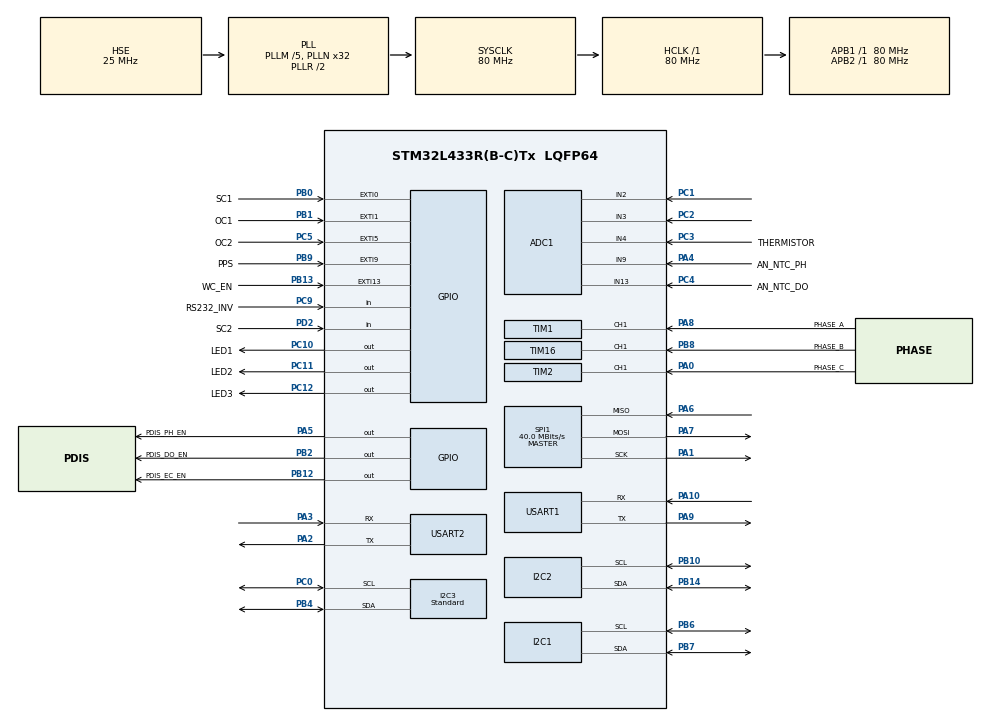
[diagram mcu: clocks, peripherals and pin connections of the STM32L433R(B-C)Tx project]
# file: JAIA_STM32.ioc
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ADC1.Channel-1\#ChannelRegularConversion=ADC_CHANNEL_2
ADC1.Channel-2\#ChannelRegularConversion=ADC_CHANNEL_3
ADC1.Channel-3\#ChannelRegularConversion=ADC_CHANNEL_4
ADC1.Channel-4\#ChannelRegularConversion=ADC_CHANNEL_9
ADC1.Channel-5\#ChannelRegularConversion=ADC_CHANNEL_13
ADC1.ContinuousConvMode=DISABLE
ADC1.DMAContinuousRequests=ENABLE
ADC1.EOCSelection=ADC_EOC_SEQ_CONV
ADC1.ExternalTrigConv=ADC_EXTERNALTRIG_T6_TRGO
ADC1.NbrOfConversion=5
ADC1.NbrOfConversionFlag=1
ADC1.OffsetNumber-1\#ChannelRegularConversion=ADC_OFFSET_NONE
ADC1.OffsetNumber-2\#ChannelRegularConversion=ADC_OFFSET_NONE
ADC1.OffsetNumber-3\#ChannelRegularConversion=ADC_OFFSET_NONE
ADC1.OffsetNumber-4\#ChannelRegularConversion=ADC_OFFSET_NONE
ADC1.OffsetNumber-5\#ChannelRegularConversion=ADC_OFFSET_NONE
ADC1.Rank-1\#ChannelRegularConversion=1
ADC1.Rank-2\#ChannelRegularConversion=2
ADC1.Rank-3\#ChannelRegularConversion=3
ADC1.Rank-4\#ChannelRegularConversion=4
ADC1.Rank-5\#ChannelRegularConversion=5
ADC1.SamplingTime-1\#ChannelRegularConversion=ADC_SAMPLETIME_247CYCLES_5
ADC1.SamplingTime-2\#ChannelRegularConversion=ADC_SAMPLETIME_247CYCLES_5
ADC1.SamplingTime-3\#ChannelRegularConversion=ADC_SAMPLETIME_247CYCLES_5
ADC1.SamplingTime-4\#ChannelRegularConversion=ADC_SAMPLETIME_247CYCLES_5
ADC1.SamplingTime-5\#ChannelRegularConversion=ADC_SAMPLETIME_247CYCLES_5
ADC1.master=1
Dma.ADC1.1.Direction=DMA_PERIPH_TO_MEMORY
Dma.ADC1.1.Instance=DMA1_Channel1
Dma.ADC1.1.MemDataAlignment=DMA_MDATAALIGN_HALFWORD
Dma.ADC1.1.MemInc=DMA_MINC_ENABLE
Dma.ADC1.1.Mode=DMA_CIRCULAR
Dma.ADC1.1.PeriphDataAlignment=DMA_PDATAALIGN_HALFWORD
Dma.ADC1.1.PeriphInc=DMA_PINC_DISABLE
Dma.ADC1.1.Priority=DMA_PRIORITY_LOW
Dma.Request0=USART2_RX
Dma.Request1=ADC1
Dma.USART2_RX.0.Direction=DMA_PERIPH_TO_MEMORY
Dma.USART2_RX.0.Instance=DMA1_Channel6
Dma.USART2_RX.0.MemDataAlignment=DMA_MDATAALIGN_BYTE
Dma.USART2_RX.0.MemInc=DMA_MINC_ENABLE
Dma.USART2_RX.0.Mode=DMA_NORMAL
Dma.USART2_RX.0.PeriphDataAlignment=DMA_PDATAALIGN_BYTE
Dma.USART2_RX.0.PeriphInc=DMA_PINC_DISABLE
Dma.USART2_RX.0.Priority=DMA_PRIORITY_MEDIUM
I2C1.Timing=0x10D19CE4
I2C2.Timing=0x10D19CE4
I2C3.I2C_Speed_Mode=I2C_Standard
I2C3.NoStretchMode=I2C_NOSTRETCH_ENABLE
I2C3.Timing=0x10D19CE4
IWDG.Prescaler=IWDG_PRESCALER_256
Mcu.Family=STM32L4
Mcu.Name=STM32L433R(B-C)Tx
Mcu.Package=LQFP64
NVIC.ADC1_IRQn=true\:0\:0\:false\:false\:true\:true\:true\:true
NVIC.DMA1_Channel1_IRQn=true\:0\:0\:false\:false\:true\:false\:true\:true
NVIC.DMA1_Channel6_IRQn=true\:0\:0\:false\:false\:true\:false\:true\:true
NVIC.EXTI9_5_IRQn=true\:0\:0\:false\:false\:true\:true\:true\:true
NVIC.PriorityGroup=NVIC_PRIORITYGROUP_4
NVIC.USART1_IRQn=true\:0\:0\:false\:false\:true\:true\:true\:true
NVIC.USART2_IRQn=true\:0\:0\:false\:false\:true\:true\:true\:true
PA0.GPIO_Label=PHASE_C
PA0.Signal=S_TIM2_CH1
PA1.Mode=Full_Duplex_Master
PA1.Signal=SPI1_SCK
PA10.Mode=Asynchronous
PA10.Signal=USART1_RX
PA13\ (JTMS-SWDIO).Mode=Trace_Asynchronous_SW
PA13\ (JTMS-SWDIO).Signal=SYS_JTMS-SWDIO
PA14\ (JTCK-SWCLK).Mode=Trace_Asynchronous_SW
PA14\ (JTCK-SWCLK).Signal=SYS_JTCK-SWCLK
PA2.Mode=Asynchronous
PA2.Signal=USART2_TX
PA3.Mode=Asynchronous
PA3.Signal=USART2_RX
PA4.GPIO_Label=AN_NTC_PH
PA4.Signal=ADCx_IN9
PA5.GPIO_Label=PDIS_PH_EN
PA5.GPIO_PuPd=GPIO_PULLDOWN
PA5.Signal=GPIO_Output
PA6.Mode=Full_Duplex_Master
PA6.Signal=SPI1_MISO
PA7.Mode=Full_Duplex_Master
PA7.Signal=SPI1_MOSI
PA8.GPIO_Label=PHASE_A
PA8.Signal=S_TIM1_CH1
PA9.Mode=Asynchronous
PA9.Signal=USART1_TX
PB0.GPIO_Label=SC1
PB0.GPIO_PuPd=GPIO_PULLDOWN
PB0.Signal=GPXTI0
PB1.GPIO_Label=OC1
PB1.GPIO_PuPd=GPIO_PULLDOWN
PB1.Signal=GPXTI1
PB10.Mode=I2C
PB10.Signal=I2C2_SCL
PB12.GPIO_Label=PDIS_EC_EN
PB12.GPIO_PuPd=GPIO_PULLDOWN
PB12.Signal=GPIO_Output
PB13.GPIO_Label=WC_EN
PB13.GPIO_PuPd=GPIO_PULLDOWN
PB13.Signal=GPXTI13
PB14.Mode=I2C
PB14.Signal=I2C2_SDA
PB2.GPIO_Label=PDIS_DO_EN
PB2.GPIO_PuPd=GPIO_PULLDOWN
PB2.Signal=GPIO_Output
PB3\ (JTDO-TRACESWO).Mode=Trace_Asynchronous_SW
PB3\ (JTDO-TRACESWO).Signal=SYS_JTDO-SWO
PB4\ (NJTRST).Mode=I2C
PB4\ (NJTRST).Signal=I2C3_SDA
PB6.Mode=I2C
PB6.Signal=I2C1_SCL
PB7.Mode=I2C
PB7.Signal=I2C1_SDA
PB8.GPIO_Label=PHASE_B
PB8.Signal=S_TIM16_CH1
PB9.GPIO_Label=PPS
PB9.Signal=GPXTI9
PC0.Mode=I2C
PC0.Signal=I2C3_SCL
PC1.Signal=ADCx_IN2
PC10.GPIO_Label=LED1
PC10.Signal=GPIO_Output
PC11.GPIO_Label=LED2
PC11.Signal=GPIO_Output
PC12.GPIO_Label=LED3
PC12.Signal=GPIO_Output
PC14-OSC32_IN\ (PC14).Mode=LSE-External-Oscillator
PC14-OSC32_IN\ (PC14).Signal=RCC_OSC32_IN
PC15-OSC32_OUT\ (PC15).Mode=LSE-External-Oscillator
PC15-OSC32_OUT\ (PC15).Signal=RCC_OSC32_OUT
PC2.Signal=ADCx_IN3
PC3.GPIO_Label=THERMISTOR
PC3.Signal=ADCx_IN4
PC4.GPIO_Label=AN_NTC_DO
PC4.Signal=ADCx_IN13
PC5.GPIO_Label=OC2
PC5.GPIO_PuPd=GPIO_PULLDOWN
PC5.Signal=GPXTI5
PC9.GPIO_Label=RS232_INV
PC9.GPIO_PuPd=GPIO_PULLDOWN
PC9.Signal=GPIO_Input
PD2.GPIO_Label=SC2
PD2.Signal=GPIO_Input
PH0-OSC_IN\ (PH0).Mode=HSE-External-Oscillator
PH0-OSC_IN\ (PH0).Signal=RCC_OSC_IN
PH1-OSC_OUT\ (PH1).Mode=HSE-External-Oscillator
PH1-OSC_OUT\ (PH1).Signal=RCC_OSC_OUT
ProjectManager.HeapSize=0x200
ProjectManager.StackSize=0x400
ProjectManager.TargetToolchain=Makefile
RCC.ADCFreq_Value=20000000
RCC.AHBFreq_Value=80000000
RCC.APB1Freq_Value=80000000
RCC.APB1TimFreq_Value=80000000
RCC.APB2Freq_Value=80000000
RCC.APB2TimFreq_Value=80000000
RCC.CortexFreq_Value=80000000
RCC.HCLKFreq_Value=80000000
RCC.HSE_VALUE=25000000
RCC.HSI48_VALUE=48000000
RCC.HSI_VALUE=16000000
RCC.MSI_VALUE=4000000
RCC.PLLM=5
RCC.PLLN=32
RCC.PLLSAI1N=16
RCC.PLLSAI1R=RCC_PLLR_DIV4
RCC.PLLSourceVirtual=RCC_PLLSOURCE_HSE
RCC.SYSCLKFreq_VALUE=80000000
RCC.SYSCLKSource=RCC_SYSCLKSOURCE_PLLCLK
RCC.USBFreq_Value=40000000
RCC.VCOOutputFreq_Value=160000000
SH.ADCx_IN13.0=ADC1_IN13,IN13-Single-Ended
SH.ADCx_IN2.0=ADC1_IN2,IN2-Single-Ended
SH.ADCx_IN3.0=ADC1_IN3,IN3-Single-Ended
SH.ADCx_IN4.0=ADC1_IN4,IN4-Single-Ended
SH.ADCx_IN9.0=ADC1_IN9,IN9-Single-Ended
SH.S_TIM16_CH1.0=TIM16_CH1,Input_Capture1_from_TI1
SH.S_TIM1_CH1.0=TIM1_CH1,Input_Capture1_from_TI1
SH.S_TIM2_CH1.0=TIM2_CH1,Input_Capture1_from_TI1
SPI1.BaudRatePrescaler=SPI_BAUDRATEPRESCALER_2
SPI1.CalculateBaudRate=40.0 MBits/s
SPI1.Direction=SPI_DIRECTION_2LINES
SPI1.Mode=SPI_MODE_MASTER
SPI1.VirtualType=VM_MASTER
TIM1.Channel-Input_Capture1_from_TI1=TIM_CHANNEL_1
TIM16.Channel=TIM_CHANNEL_1
TIM2.Channel-Input_Capture1_from_TI1=TIM_CHANNEL_1
TIM6.AutoReloadPreload=TIM_AUTORELOAD_PRELOAD_ENABLE
TIM6.Period=49999
TIM6.Prescaler=159
TIM6.TIM_MasterOutputTrigger=TIM_TRGO_UPDATE
USART1.VirtualMode-Asynchronous=VM_ASYNC
USART2.VirtualMode-Asynchronous=VM_ASYNC
VP_IWDG_VS_IWDG.Mode=IWDG_Activate
VP_TIM16_VS_ClockSourceINT.Mode=Enable_Timer
VP_TIM6_VS_ClockSourceINT.Mode=Enable_Timer
board=custom

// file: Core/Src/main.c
/* USER CODE BEGIN Header */
/**
 ******************************************************************************
 * @file           : main.c
 * @brief          : Main program body
 ******************************************************************************
 * @attention
 *
 * Copyright (c) 2024 STMicroelectronics.
 * All rights reserved.
 *
 * This software is licensed under terms that can be found in the LICENSE file
 * in the root directory of this software component.
 * If no LICENSE file comes with this software, it is provided AS-IS.
 *
 ******************************************************************************
 */
/* USER CODE END Header */
#include "main.h"

/* USER CODE BEGIN PTD */

typedef jaiabot_sensor_protobuf_SensorData SensorData;
typedef jaiabot_sensor_protobuf_SensorRequest SensorRequest;
typedef jaiabot_sensor_protobuf_Sensor Sensor;

/* USER CODE END PTD */

/* USER CODE BEGIN PD */
#define SWO_ENABLED 0  // Set to 1 to enable SWO debugging
#define ITM_PORT 0
#define UART1_RECEIVE_TIMEOUT_MS 2000
/* USER CODE END PD */

ADC_HandleTypeDef hadc1;
DMA_HandleTypeDef hdma_adc1;

I2C_HandleTypeDef hi2c1;
I2C_HandleTypeDef hi2c2;
I2C_HandleTypeDef hi2c3;

IWDG_HandleTypeDef hiwdg;

SPI_HandleTypeDef hspi1;

TIM_HandleTypeDef htim1;
TIM_HandleTypeDef htim2;
TIM_HandleTypeDef htim6;
TIM_HandleTypeDef htim16;

UART_HandleTypeDef huart1;
UART_HandleTypeDef huart2;
DMA_HandleTypeDef hdma_usart2_rx;

/* USER CODE BEGIN PV */
OEM_EC_CHIP ec;
OEM_DO_CHIP dOxy;
OEM_PH_CHIP ph;

ADC_HandleTypeDef hadc1;

I2C_HandleTypeDef hi2c1;
I2C_HandleTypeDef hi2c2;
I2C_HandleTypeDef hi2c3;

SPI_HandleTypeDef hspi1;

TIM_HandleTypeDef htim1;
TIM_HandleTypeDef htim2;
TIM_HandleTypeDef htim16;

UART_HandleTypeDef huart1;
UART_HandleTypeDef huart2;
DMA_HandleTypeDef hdma_usart2_rx;

#define SOFTWARE_VERSION 4
#define SENSOR_REQUEST_SAMPLE_RATE 1000
#define MILLISECONDS_FACTOR 1000
#define PRESSURE_CONVERSION_MBAR 1.0f

uint8_t uartrxbuff[MAX_MSG_SIZE] __attribute__((aligned(4)));
uint8_t uarttxbuff[MAX_MSG_SIZE] __attribute__((aligned(4)));

uint8_t uart1rxbuff[MAX_MSG_SIZE] __attribute__((aligned(4)));
uint8_t uart1txbuff[MAX_MSG_SIZE] __attribute__((aligned(4)));

extern uint32_t _s_ramfunc, _e_ramfunc, _s_ramfunc_load;

// ADC Variables
uint16_t adc_value1; // Fluorometer
uint16_t adc_value2; //
uint16_t adc_value3; //
uint16_t adc_value4; // pH temperature
uint16_t adc_value5; // DO temperature

float adc_voltage1;
float adc_voltage2;
float adc_voltage3;
float adc_voltage4;
float adc_voltage5;

uint32_t adc_counter;
uint16_t adc_buffer[5];

int Sensors[_jaiabot_sensor_protobuf_Sensor_ARRAYSIZE] = {0};
int SensorSampleRates[_jaiabot_sensor_protobuf_Sensor_ARRAYSIZE] = {0};

// Bar 30
bool pressure_zeroed = false;
float pressure_zero_mbar = 0.0f;

static uint32_t uart1_last_rx_tick = 0;
/* USER CODE END PV */

void SystemClock_Config(void);
static void MX_GPIO_Init(void);
static void MX_DMA_Init(void);
static void MX_ADC1_Init(void);
static void MX_I2C1_Init(void);
static void MX_I2C2_Init(void);
static void MX_I2C3_Init(void);
static void MX_USART1_UART_Init(void);
static void MX_USART2_UART_Init(void);
static void MX_SPI1_Init(void);
static void MX_TIM1_Init(void);
static void MX_TIM2_Init(void);
static void MX_TIM16_Init(void);
static void MX_IWDG_Init(void);
static void MX_TIM6_Init(void);
/* USER CODE BEGIN PFP */

void jumpToBootloader(void);
void startCalibration(jaiabot_sensor_protobuf_Sensor sensor);
void stopCalibration(void);
static void UART1_CheckTimeout(void);

// Initialize Sensors
void init_blue_robotics_bar30();
void init_atlas_scientific_EC();
void init_atlas_scientific_DO();
void init_atlas_scientific_pH();
void init_CFluor();
void init_AML();

// Transmit Data
void process_sensor_request(SensorRequest *sensor_request);
void transmit_sensor_data(SensorData *sensor_data);
void transmit_metadata();
void transmit_atlas_scientific_ec_data();
void transmit_atlas_scientific_do_data();
void transmit_atlas_scientific_ph_data();
void transmit_blue_robotics_bar30_data();
void transmit_turner_c_fluor_data();

// Utility
int hz_to_ms(int hz);

/* USER CODE END PFP */

int main(void)
{

  /* MCU Configuration--------------------------------------------------------*/

  /* Reset of all peripherals, Initializes the Flash interface and the Systick. */
  HAL_Init();

  /* Configure the system clock */
  SystemClock_Config();

  /* Initialize all configured peripherals */
  MX_GPIO_Init();
  MX_DMA_Init();
  MX_ADC1_Init();
  MX_I2C1_Init();
  MX_I2C2_Init();
  MX_I2C3_Init();
  MX_USART1_UART_Init();
  MX_USART2_UART_Init();
  MX_SPI1_Init();
  MX_TIM1_Init();
  MX_TIM2_Init();
  MX_TIM16_Init();
  MX_IWDG_Init();
  MX_TIM6_Init();
  /* USER CODE BEGIN 2 */

  // Initialize Sensors
  init_atlas_scientific_EC();
  init_atlas_scientific_DO();
  init_atlas_scientific_pH();
  init_blue_robotics_bar30();

  init_CFluor();
  init_AML();

  // Must be called before computing CRC32
  init_crc32_table();

  // Set up UART RX interrupt
  HAL_UARTEx_ReceiveToIdle_IT(&huart1, (uint8_t *)uart1rxbuff, sizeof(uart1rxbuff));
  HAL_UARTEx_ReceiveToIdle_DMA(&huart2, (uint8_t *)uartrxbuff, sizeof(uartrxbuff));
  uart1_last_rx_tick = HAL_GetTick();  /* Prevent false timeout before first AML data */

  // Calibrate the ADC
  if (HAL_ADCEx_Calibration_Start(&hadc1, LL_ADC_SINGLE_ENDED) != HAL_OK)
  {
      Error_Handler();
  }

  // Start the timer for ADC Transfers at 100ms
  HAL_TIM_Base_Start_IT(&htim6);
  HAL_ADC_Start_DMA(&hadc1, (uint32_t*)adc_buffer, 5);

  /* USER CODE END 2 */

  /* Infinite loop */
  /* USER CODE BEGIN WHILE */

  double time = 0;
  double ec_target_send_time = 0;
  double do_target_send_time = 0;
  double ph_target_send_time = 0;
  double bar30_target_send_time = 0;
  double turner_c_fluor_target_send_time = 0;
  double aml_target_send_time = 0;
  double sensor_request_target_check_time = 0;

  while (1)
  {
    // Refresh watchdog
    HAL_IWDG_Refresh(&hiwdg);

    // Run at 100 Hz
    HAL_Delay(10);

    // Check if a sensor came unplugged from UART 1 (user changing AML sensors)
    UART1_CheckTimeout();

    // Sensor Request
    if (time >= sensor_request_target_check_time)
    {
      sensor_request_target_check_time = time + SENSOR_REQUEST_SAMPLE_RATE;
      SensorRequest sensor_request = process_cmd();
      process_sensor_request(&sensor_request);
    }

    // Sensor Data
    if (Sensors[jaiabot_sensor_protobuf_Sensor_ATLAS_SCIENTIFIC__OEM_EC] == REQUESTED && time >= ec_target_send_time)
    {
      ec_target_send_time = time + SensorSampleRates[jaiabot_sensor_protobuf_Sensor_ATLAS_SCIENTIFIC__OEM_EC];
      transmit_atlas_scientific_ec_data();
    }

    if (Sensors[jaiabot_sensor_protobuf_Sensor_ATLAS_SCIENTIFIC__OEM_DO] == REQUESTED && time >= do_target_send_time)
    {
      do_target_send_time = time + SensorSampleRates[jaiabot_sensor_protobuf_Sensor_ATLAS_SCIENTIFIC__OEM_DO];
      transmit_atlas_scientific_do_data();
    }

    if (Sensors[jaiabot_sensor_protobuf_Sensor_ATLAS_SCIENTIFIC__OEM_PH] == REQUESTED && time >= ph_target_send_time)
    {
      ph_target_send_time = time + SensorSampleRates[jaiabot_sensor_protobuf_Sensor_ATLAS_SCIENTIFIC__OEM_PH];
      transmit_atlas_scientific_ph_data();
    }

    if (Sensors[jaiabot_sensor_protobuf_Sensor_BLUE_ROBOTICS__BAR30] == REQUESTED && time >= bar30_target_send_time)
    {
      bar30_target_send_time = time + SensorSampleRates[jaiabot_sensor_protobuf_Sensor_BLUE_ROBOTICS__BAR30];
      transmit_blue_robotics_bar30_data();
    }

    if (Sensors[jaiabot_sensor_protobuf_Sensor_TURNER__C_FLUOR] == REQUESTED && time >= turner_c_fluor_target_send_time)
    {
      turner_c_fluor_target_send_time = time + SensorSampleRates[jaiabot_sensor_protobuf_Sensor_TURNER__C_FLUOR];
      transmit_turner_c_fluor_data();
    }

    if (Sensors[jaiabot_sensor_protobuf_Sensor_AML__SENSOR] == REQUESTED && time >= aml_target_send_time)
    {
      aml_target_send_time = time + SensorSampleRates[jaiabot_sensor_protobuf_Sensor_AML__SENSOR];
      transmit_aml_data();
    }

    time = HAL_GetTick();
  }

  return 0;
}

    /* USER CODE END WHILE */

    /* USER CODE BEGIN 3 */

// Sensor Initialization Functions
void init_atlas_scientific_EC()
{
  ec.i2cHandle = &hi2c2;
  int res = initAtlasScientificEC();

  if (res == 0)
  {
    Sensors[jaiabot_sensor_protobuf_Sensor_ATLAS_SCIENTIFIC__OEM_EC] = INITIALIZED;
  }
  else
  {
	  Sensors[jaiabot_sensor_protobuf_Sensor_ATLAS_SCIENTIFIC__OEM_EC] = FAILED;
  }
}

void init_atlas_scientific_DO()
{
  dOxy.i2cHandle = &hi2c2;
  int res = initAtlasScientificDO();

  if (res == 0)
  {
    Sensors[jaiabot_sensor_protobuf_Sensor_ATLAS_SCIENTIFIC__OEM_DO] = INITIALIZED;
  }
  else
  {
	  Sensors[jaiabot_sensor_protobuf_Sensor_ATLAS_SCIENTIFIC__OEM_DO] = FAILED;
  }
}

void init_atlas_scientific_pH()
{
  ph.i2cHandle = &hi2c2;
  int res = initAtlasScientificPH();

  if (res == 0)
  {
    Sensors[jaiabot_sensor_protobuf_Sensor_ATLAS_SCIENTIFIC__OEM_PH] = INITIALIZED;
  }
  else
  {
	Sensors[jaiabot_sensor_protobuf_Sensor_ATLAS_SCIENTIFIC__OEM_PH] = FAILED;
  }
}

void init_blue_robotics_bar30()
{
  int res = initMS5837(&hi2c3, MS5837_30BA);

  if (res == 0)
  {
    // Forward LED
    HAL_GPIO_TogglePin(GPIOC,GPIO_PIN_10);
    Sensors[jaiabot_sensor_protobuf_Sensor_BLUE_ROBOTICS__BAR30] = INITIALIZED;
  }
  else
  {
	Sensors[jaiabot_sensor_protobuf_Sensor_BLUE_ROBOTICS__BAR30] = FAILED;
  }
}

void init_CFluor()
{
  Sensors[jaiabot_sensor_protobuf_Sensor_TURNER__C_FLUOR] = INITIALIZED;
}

void init_AML()
{
  Sensors[jaiabot_sensor_protobuf_Sensor_AML__SENSOR] = INITIALIZED;
}

void process_sensor_request(SensorRequest *sensor_request)
{
  if (sensor_request->which_request_data == jaiabot_sensor_protobuf_SensorRequest_request_metadata_tag)
  {
    if (sensor_request->request_data.request_metadata)
    {
      transmit_metadata();
    }
  }
  else if (sensor_request->which_request_data == jaiabot_sensor_protobuf_SensorRequest_cfg_tag)
  {
    if (sensor_request->request_data.cfg.sensor == jaiabot_sensor_protobuf_Sensor_ATLAS_SCIENTIFIC__OEM_EC && Sensors[jaiabot_sensor_protobuf_Sensor_ATLAS_SCIENTIFIC__OEM_EC] != STOPPED)
    {
      SensorSampleRates[jaiabot_sensor_protobuf_Sensor_ATLAS_SCIENTIFIC__OEM_EC] = hz_to_ms(sensor_request->request_data.cfg.sample_freq);
      Sensors[jaiabot_sensor_protobuf_Sensor_ATLAS_SCIENTIFIC__OEM_EC] = REQUESTED;
    }

    if (sensor_request->request_data.cfg.sensor == jaiabot_sensor_protobuf_Sensor_ATLAS_SCIENTIFIC__OEM_DO && Sensors[jaiabot_sensor_protobuf_Sensor_ATLAS_SCIENTIFIC__OEM_DO] != STOPPED)
    {
      SensorSampleRates[jaiabot_sensor_protobuf_Sensor_ATLAS_SCIENTIFIC__OEM_DO] = hz_to_ms(sensor_request->request_data.cfg.sample_freq);
      Sensors[jaiabot_sensor_protobuf_Sensor_ATLAS_SCIENTIFIC__OEM_DO] = REQUESTED;
    }

    if (sensor_request->request_data.cfg.sensor == jaiabot_sensor_protobuf_Sensor_ATLAS_SCIENTIFIC__OEM_PH && Sensors[jaiabot_sensor_protobuf_Sensor_ATLAS_SCIENTIFIC__OEM_PH] != STOPPED)
    {
      SensorSampleRates[jaiabot_sensor_protobuf_Sensor_ATLAS_SCIENTIFIC__OEM_PH] = hz_to_ms(sensor_request->request_data.cfg.sample_freq);
      Sensors[jaiabot_sensor_protobuf_Sensor_ATLAS_SCIENTIFIC__OEM_PH] = REQUESTED;
    }

    if (sensor_request->request_data.cfg.sensor == jaiabot_sensor_protobuf_Sensor_BLUE_ROBOTICS__BAR30 && Sensors[jaiabot_sensor_protobuf_Sensor_BLUE_ROBOTICS__BAR30] != STOPPED)
    {
      SensorSampleRates[jaiabot_sensor_protobuf_Sensor_BLUE_ROBOTICS__BAR30] = hz_to_ms(sensor_request->request_data.cfg.sample_freq);
      Sensors[jaiabot_sensor_protobuf_Sensor_BLUE_ROBOTICS__BAR30] = REQUESTED;
    }

    if (sensor_request->request_data.cfg.sensor == jaiabot_sensor_protobuf_Sensor_TURNER__C_FLUOR && Sensors[jaiabot_sensor_protobuf_Sensor_TURNER__C_FLUOR] != STOPPED)
    {
      SensorSampleRates[jaiabot_sensor_protobuf_Sensor_TURNER__C_FLUOR] = hz_to_ms(sensor_request->request_data.cfg.sample_freq);
      Sensors[jaiabot_sensor_protobuf_Sensor_TURNER__C_FLUOR] = REQUESTED;

      if (sensor_request->request_data.cfg.cfg_count > 0)
      {
        set_CFluorOffset(atof(sensor_request->request_data.cfg.cfg[0].value));
        set_CFluorCalCoefficient(atof(sensor_request->request_data.cfg.cfg[1].value));
        set_CFluorSerialNumber(atof(sensor_request->request_data.cfg.cfg[2].value));
      }
    }

    if (sensor_request->request_data.cfg.sensor == jaiabot_sensor_protobuf_Sensor_AML__SENSOR && Sensors[jaiabot_sensor_protobuf_Sensor_AML__SENSOR] != STOPPED)
    {
      SensorSampleRates[jaiabot_sensor_protobuf_Sensor_AML__SENSOR] = hz_to_ms(sensor_request->request_data.cfg.sample_freq);
      Sensors[jaiabot_sensor_protobuf_Sensor_AML__SENSOR] = REQUESTED;
    }
  }

  if (sensor_request->has_mcu_command && sensor_request->mcu_command == jaiabot_sensor_protobuf_MCUCommand_ENTER_BOOTLOADER_MODE)
  {
    jumpToBootloader();
  }

  if (sensor_request->has_calibration_type)
  {
    switch (sensor_request->calibration_type)
    {
      case jaiabot_sensor_protobuf_CalibrationType_START_EC_CALIBRATION:
        startCalibration(jaiabot_sensor_protobuf_Sensor_ATLAS_SCIENTIFIC__OEM_EC);
        break;
      case jaiabot_sensor_protobuf_CalibrationType_CALIBRATE_EC_DRY:
        calibrateEC(0.000000, 2);
        break;
      case jaiabot_sensor_protobuf_CalibrationType_CALIBRATE_EC_LOW:
        calibrateEC(sensor_request->calibration_value * 100.0, 4);
        break;
      case jaiabot_sensor_protobuf_CalibrationType_CALIBRATE_EC_HIGH:
        calibrateEC(sensor_request->calibration_value * 100.0, 5);
        break;
      case jaiabot_sensor_protobuf_CalibrationType_CLEAR_EC_CALIBRATION:
        clearCalibration(jaiabot_sensor_protobuf_Sensor_ATLAS_SCIENTIFIC__OEM_EC);
        break;
      case jaiabot_sensor_protobuf_CalibrationType_START_DO_CALIBRATION:
        startCalibration(jaiabot_sensor_protobuf_Sensor_ATLAS_SCIENTIFIC__OEM_DO);
        break;
      case jaiabot_sensor_protobuf_CalibrationType_CALIBRATE_DO_LOW:
        calibrateDO(3);
        break;
      case jaiabot_sensor_protobuf_CalibrationType_CALIBRATE_DO_HIGH:
        calibrateDO(2);
        break;
      case jaiabot_sensor_protobuf_CalibrationType_CLEAR_DO_CALIBRATION:
        clearCalibration(jaiabot_sensor_protobuf_Sensor_ATLAS_SCIENTIFIC__OEM_DO);
        break;
      case jaiabot_sensor_protobuf_CalibrationType_START_PH_CALIBRATION:
        startCalibration(jaiabot_sensor_protobuf_Sensor_ATLAS_SCIENTIFIC__OEM_PH);
        break;
      case jaiabot_sensor_protobuf_CalibrationType_CALIBRATE_PH_LOW:
        calibratePH(sensor_request->calibration_value * 1000.0, 2);
        break;
      case jaiabot_sensor_protobuf_CalibrationType_CALIBRATE_PH_MID:
        calibratePH(sensor_request->calibration_value * 1000.0, 3);
        break;
      case jaiabot_sensor_protobuf_CalibrationType_CALIBRATE_PH_HIGH:
        calibratePH(sensor_request->calibration_value * 1000.0, 4);
        break;
      case jaiabot_sensor_protobuf_CalibrationType_CLEAR_PH_CALIBRATION:
        clearCalibration(jaiabot_sensor_protobuf_Sensor_ATLAS_SCIENTIFIC__OEM_PH);
        break;
      case jaiabot_sensor_protobuf_CalibrationType_STOP_CALIBRATION:
        stopCalibration();
        break;
      default:
        break;
    }

    transmit_metadata();
  }

  if (sensor_request->has_compensation_type)
  {
    switch (sensor_request->compensation_type)
    {
      case jaiabot_sensor_protobuf_CompensationType_SET_EC_TEMPERATURE_COMPENSATION:
        setECTempCompensation(sensor_request->compensation_value * 100.0);
        break;
      case jaiabot_sensor_protobuf_CompensationType_SET_DO_SALINITY_COMPENSATION:
        setDOSalinityCompensation(sensor_request->compensation_value * 100.0);
        break;
      case jaiabot_sensor_protobuf_CompensationType_SET_DO_PRESSURE_COMPENSATION:
        setDOPressureCompensation(sensor_request->compensation_value * 100.0);
        break;
      case jaiabot_sensor_protobuf_CompensationType_SET_DO_TEMPERATURE_COMPENSATION:
        setDOTempCompensation(sensor_request->compensation_value * 100.0);
        break;
      case jaiabot_sensor_protobuf_CompensationType_SET_PH_TEMPERATURE_COMPENSATION:
        setPHTempCompensation(sensor_request->compensation_value * 100.0);
        break;
      default:
        break;
    }
  }
}

void startCalibration(jaiabot_sensor_protobuf_Sensor sensor)
{
  for (int i = 0; i < _jaiabot_sensor_protobuf_Sensor_ARRAYSIZE; i++)
  {
    // Set all of our sensors to UNITIALIZED besides the one we're calibrating. Set the sample rate to 1 Hz for the sensor we're calibrating
    if (i != sensor)
    {
      Sensors[i] = STOPPED;
    }
    else
    {
      SensorSampleRates[i] = hz_to_ms(1);
      Sensors[i] = REQUESTED;
    }
  }
}

void stopCalibration()
{
  // Set all of our sensors to REQUESTED. Set the sample rate to 10 Hz for all sensors
  for (int i = 0; i < _jaiabot_sensor_protobuf_Sensor_ARRAYSIZE; i++)
  {
    SensorSampleRates[i] = hz_to_ms(10);
    Sensors[i] = REQUESTED;
  }
}

void transmit_sensor_data(SensorData *sensor_data)
{
  uint8_t buffer[MAX_MSG_SIZE] = {0};
  uint8_t buffer_cobs[MAX_MSG_SIZE] = {0};
  size_t message_length;

  pb_ostream_t stream = pb_ostream_from_buffer(buffer, sizeof(buffer));

  bool status = pb_encode(&stream, jaiabot_sensor_protobuf_SensorData_fields, sensor_data);

  if (!status)
  {
    return;
  }

  message_length = stream.bytes_written;

  uint32_t calculated_crc = compute_crc32(buffer, message_length);
  uint8_t bits_in_byte = 8;
  uint8_t bytes_in_crc32 = 4;

  uint8_t counter = 0;
  for (int i = bytes_in_crc32 - 1; i >= 0; --i)
  {
    buffer[counter + message_length] = (calculated_crc >> (i * bits_in_byte)) & 0xFF;
    counter++;
  }

  COBSStuffData(buffer, message_length + bytes_in_crc32, buffer_cobs);

  uint8_t len_cobs = {0};
  for (int i = 0; i < sizeof(buffer_cobs); i++)
  {
    len_cobs = len_cobs + 1;
    if (buffer_cobs[i] == 0)
    {
      break;
    }
  }

  HAL_StatusTypeDef transmit_status = HAL_UART_Transmit(&huart2, buffer_cobs, len_cobs, HAL_MAX_DELAY);

  // Middle LED
  HAL_GPIO_TogglePin(GPIOC,GPIO_PIN_11);
  HAL_Delay(10);
}

void transmit_metadata()
{
  for (int sensor_index = 1; sensor_index < _jaiabot_sensor_protobuf_Sensor_ARRAYSIZE; sensor_index++)
  {

    Metadata metadata = jaiabot_sensor_protobuf_Metadata_init_zero;
    metadata.sensor = sensor_index;
    metadata.has_payload_board_version = true;
    metadata.payload_board_version = SOFTWARE_VERSION;

    metadata.has_calibration = true;

    // Sensor calibration information
    switch (sensor_index)
    {
      case jaiabot_sensor_protobuf_Sensor_ATLAS_SCIENTIFIC__OEM_EC:
        metadata.calibration.has_confirmation = true;
        metadata.calibration.confirmation = ec.calibration_confirmation;
        break;
      case jaiabot_sensor_protobuf_Sensor_ATLAS_SCIENTIFIC__OEM_DO:
        metadata.calibration.has_confirmation = true;
        metadata.calibration.confirmation = dOxy.calibration_confirmation;
        break;
      case jaiabot_sensor_protobuf_Sensor_ATLAS_SCIENTIFIC__OEM_PH:
        metadata.calibration.has_confirmation = true;
        metadata.calibration.confirmation = ph.calibration_confirmation;
        break;
      default:
        break;
    }

    if (Sensors[sensor_index] == UNINITIALIZED)
    {
      continue;
    }

    if (Sensors[sensor_index] == FAILED)
    {
    	metadata.has_init_failed = true;
    	metadata.init_failed = true;
    }

    SensorData sensor_data = jaiabot_sensor_protobuf_SensorData_init_zero;
    sensor_data.time = HAL_GetTick();
    sensor_data.which_data = jaiabot_sensor_protobuf_SensorData_metadata_tag;
    sensor_data.data.metadata = metadata;

    transmit_sensor_data(&sensor_data);
  }
}

// Data Transmit Functions
void transmit_atlas_scientific_ec_data()
{
  SensorData sensor_data = jaiabot_sensor_protobuf_SensorData_init_zero;
  sensor_data.time = HAL_GetTick();
  sensor_data.which_data = jaiabot_sensor_protobuf_SensorData_oem_ec_tag;
  AtlasScientificOEMEC oem_ec = jaiabot_sensor_protobuf_AtlasScientificOEMEC_init_zero;

  if (get_ECReading() == HAL_OK)
  {
    oem_ec.has_conductivity_raw = true;
    oem_ec.conductivity_raw = getConductivity();
    oem_ec.has_total_dissolved_solids = true;
    oem_ec.total_dissolved_solids = getTDS();
    oem_ec.has_salinity = true;
    oem_ec.salinity = getSalinity();
  }

  sensor_data.data.oem_ec = oem_ec;
  transmit_sensor_data(&sensor_data);
}

void transmit_atlas_scientific_do_data()
{
  SensorData sensor_data = jaiabot_sensor_protobuf_SensorData_init_zero;
  sensor_data.time = HAL_GetTick();
  sensor_data.which_data = jaiabot_sensor_protobuf_SensorData_oem_do_tag;
  AtlasScientificOEMDO oem_do = jaiabot_sensor_protobuf_AtlasScientificOEMDO_init_zero;

  if (get_DOReading() == HAL_OK)
  {
    oem_do.has_do_raw = true;
    oem_do.do_raw = getDO();
    oem_do.has_temperature = true;
    oem_do.temperature = getDOTemperature();
    oem_do.has_temperature_voltage = true;
    oem_do.temperature_voltage = getDOTemperatureVoltage();
  }

  sensor_data.data.oem_do = oem_do;
  transmit_sensor_data(&sensor_data);
}

void transmit_atlas_scientific_ph_data()
{
  SensorData sensor_data = jaiabot_sensor_protobuf_SensorData_init_zero;
  sensor_data.time = HAL_GetTick();
  sensor_data.which_data = jaiabot_sensor_protobuf_SensorData_oem_ph_tag;
  AtlasScientificOEMPH oem_ph = jaiabot_sensor_protobuf_AtlasScientificOEMpH_init_zero;

  if (get_PHReading() == HAL_OK)
  {
    oem_ph.has_ph_raw = true;
    oem_ph.ph_raw = getPH();
    oem_ph.has_temperature = true;
    oem_ph.temperature = getPHTemperature();
    oem_ph.has_temperature_voltage = true;
    oem_ph.temperature_voltage = getPHTemperatureVoltage();
  }

  sensor_data.data.oem_ph = oem_ph;
  transmit_sensor_data(&sensor_data);
}

void transmit_blue_robotics_bar30_data()
{
  SensorData sensor_data = jaiabot_sensor_protobuf_SensorData_init_zero;
  sensor_data.time = HAL_GetTick();
  sensor_data.which_data = jaiabot_sensor_protobuf_SensorData_bar30_tag;
  BlueRoboticsBar30 bar30 = jaiabot_sensor_protobuf_BlueRoboticsBar30_init_zero;

  if (readMS5837() == 0)
  {
    bar30.has_pressure = true;

    if (!pressure_zeroed)
    {
    	pressure_zero_mbar = getPressure(PRESSURE_CONVERSION_MBAR);
    	pressure_zeroed = true;
    }

    bar30.pressure = getPressure(PRESSURE_CONVERSION_MBAR) - pressure_zero_mbar;
    bar30.has_temperature = true;
    bar30.temperature = getTemperature();
  }

  sensor_data.data.bar30 = bar30;
  transmit_sensor_data(&sensor_data);
}

void transmit_turner_c_fluor_data()
{
  SensorData sensor_data = jaiabot_sensor_protobuf_SensorData_init_zero;
  sensor_data.time = HAL_GetTick();
  sensor_data.which_data = jaiabot_sensor_protobuf_SensorData_c_fluor_tag;
  TurnerCFluor c_fluor = jaiabot_sensor_protobuf_TurnerCFluor_init_zero;

  if (readCFluor() == 0)
  {
    c_fluor.has_concentration = true;
    c_fluor.concentration = getConcentration();
    c_fluor.has_concentration_voltage = true;
    c_fluor.concentration_voltage = getConcentrationVoltage();
  }

  sensor_data.data.c_fluor = c_fluor;
  transmit_sensor_data(&sensor_data);
}

int hz_to_ms(int hz)
{
  return 1.0f / hz * MILLISECONDS_FACTOR;
}

// If it's been UART1_RECEIVE_TIMEOUT_MS ms since we last received a message over UART1,
// cancel any ongoing reads, clear its buffers, restart the UART1 receiver, and get ready for
// the next incoming message.
// Needed to reset UART1 incase user removed AML sensor while the services were running.
static void UART1_CheckTimeout(void)
{
    /* Only check when AML was previously connected (detect disconnect) */
    if (Sensors[jaiabot_sensor_protobuf_Sensor_AML__SENSOR] == UNINITIALIZED)
    {
        return;
    }
    if (HAL_GetTick() - uart1_last_rx_tick > UART1_RECEIVE_TIMEOUT_MS)
    {
        HAL_UART_Abort(&huart1);
        memset(uart1rxbuff, 0, sizeof(uart1rxbuff));
        HAL_UARTEx_ReceiveToIdle_IT(&huart1, uart1rxbuff, sizeof(uart1rxbuff));

        AML_Reset();

        uart1_last_rx_tick = HAL_GetTick();
    }
}
  /* USER CODE END 3 */

void SystemClock_Config(void)
{
  RCC_OscInitTypeDef RCC_OscInitStruct = {0};
  RCC_ClkInitTypeDef RCC_ClkInitStruct = {0};

  /** Configure the main internal regulator output voltage
  */
  if (HAL_PWREx_ControlVoltageScaling(PWR_REGULATOR_VOLTAGE_SCALE1) != HAL_OK)
  {
    Error_Handler();
  }

  /** Configure LSE Drive Capability
  */
  HAL_PWR_EnableBkUpAccess();
  __HAL_RCC_LSEDRIVE_CONFIG(RCC_LSEDRIVE_LOW);

  /** Initializes the RCC Oscillators according to the specified parameters
  * in the RCC_OscInitTypeDef structure.
  */
  RCC_OscInitStruct.OscillatorType = RCC_OSCILLATORTYPE_LSI|RCC_OSCILLATORTYPE_HSE
                              |RCC_OSCILLATORTYPE_LSE|RCC_OSCILLATORTYPE_MSI;
  RCC_OscInitStruct.HSEState = RCC_HSE_ON;
  RCC_OscInitStruct.LSEState = RCC_LSE_ON;
  RCC_OscInitStruct.LSIState = RCC_LSI_ON;
  RCC_OscInitStruct.MSIState = RCC_MSI_ON;
  RCC_OscInitStruct.MSICalibrationValue = 0;
  RCC_OscInitStruct.MSIClockRange = RCC_MSIRANGE_6;
  RCC_OscInitStruct.PLL.PLLState = RCC_PLL_ON;
  RCC_OscInitStruct.PLL.PLLSource = RCC_PLLSOURCE_HSE;
  RCC_OscInitStruct.PLL.PLLM = 5;
  RCC_OscInitStruct.PLL.PLLN = 32;
  RCC_OscInitStruct.PLL.PLLP = RCC_PLLP_DIV7;
  RCC_OscInitStruct.PLL.PLLQ = RCC_PLLQ_DIV2;
  RCC_OscInitStruct.PLL.PLLR = RCC_PLLR_DIV2;
  if (HAL_RCC_OscConfig(&RCC_OscInitStruct) != HAL_OK)
  {
    Error_Handler();
  }

  /** Initializes the CPU, AHB and APB buses clocks
  */
  RCC_ClkInitStruct.ClockType = RCC_CLOCKTYPE_HCLK|RCC_CLOCKTYPE_SYSCLK
                              |RCC_CLOCKTYPE_PCLK1|RCC_CLOCKTYPE_PCLK2;
  RCC_ClkInitStruct.SYSCLKSource = RCC_SYSCLKSOURCE_PLLCLK;
  RCC_ClkInitStruct.AHBCLKDivider = RCC_SYSCLK_DIV1;
  RCC_ClkInitStruct.APB1CLKDivider = RCC_HCLK_DIV1;
  RCC_ClkInitStruct.APB2CLKDivider = RCC_HCLK_DIV1;

  if (HAL_RCC_ClockConfig(&RCC_ClkInitStruct, FLASH_LATENCY_4) != HAL_OK)
  {
    Error_Handler();
  }

  /** Enable MSI Auto calibration
  */
  HAL_RCCEx_EnableMSIPLLMode();
}

static void MX_ADC1_Init(void)
{

  ADC_ChannelConfTypeDef sConfig = {0};

  /** Common config
  */
  hadc1.Instance = ADC1;
  hadc1.Init.ClockPrescaler = ADC_CLOCK_ASYNC_DIV1;
  hadc1.Init.Resolution = ADC_RESOLUTION_12B;
  hadc1.Init.DataAlign = ADC_DATAALIGN_RIGHT;
  hadc1.Init.ScanConvMode = ADC_SCAN_ENABLE;
  hadc1.Init.EOCSelection = ADC_EOC_SEQ_CONV;
  hadc1.Init.LowPowerAutoWait = DISABLE;
  hadc1.Init.ContinuousConvMode = DISABLE;
  hadc1.Init.NbrOfConversion = 5;
  hadc1.Init.DiscontinuousConvMode = DISABLE;
  hadc1.Init.ExternalTrigConv = ADC_EXTERNALTRIG_T6_TRGO;
  hadc1.Init.ExternalTrigConvEdge = ADC_EXTERNALTRIGCONVEDGE_RISING;
  hadc1.Init.DMAContinuousRequests = ENABLE;
  hadc1.Init.Overrun = ADC_OVR_DATA_PRESERVED;
  hadc1.Init.OversamplingMode = DISABLE;
  if (HAL_ADC_Init(&hadc1) != HAL_OK)
  {
    Error_Handler();
  }

  /** Configure Regular Channel
  */
  sConfig.Channel = ADC_CHANNEL_2;
  sConfig.Rank = ADC_REGULAR_RANK_1;
  sConfig.SamplingTime = ADC_SAMPLETIME_247CYCLES_5;
  sConfig.SingleDiff = ADC_SINGLE_ENDED;
  sConfig.OffsetNumber = ADC_OFFSET_NONE;
  sConfig.Offset = 0;
  if (HAL_ADC_ConfigChannel(&hadc1, &sConfig) != HAL_OK)
  {
    Error_Handler();
  }

  /** Configure Regular Channel
  */
  sConfig.Channel = ADC_CHANNEL_3;
  sConfig.Rank = ADC_REGULAR_RANK_2;
  if (HAL_ADC_ConfigChannel(&hadc1, &sConfig) != HAL_OK)
  {
    Error_Handler();
  }

  /** Configure Regular Channel
  */
  sConfig.Channel = ADC_CHANNEL_4;
  sConfig.Rank = ADC_REGULAR_RANK_3;
  if (HAL_ADC_ConfigChannel(&hadc1, &sConfig) != HAL_OK)
  {
    Error_Handler();
  }

  /** Configure Regular Channel
  */
  sConfig.Channel = ADC_CHANNEL_9;
  sConfig.Rank = ADC_REGULAR_RANK_4;
  if (HAL_ADC_ConfigChannel(&hadc1, &sConfig) != HAL_OK)
  {
    Error_Handler();
  }

  /** Configure Regular Channel
  */
  sConfig.Channel = ADC_CHANNEL_13;
  sConfig.Rank = ADC_REGULAR_RANK_5;
  if (HAL_ADC_ConfigChannel(&hadc1, &sConfig) != HAL_OK)
  {
    Error_Handler();
  }
  /* USER CODE BEGIN ADC1_Init 2 */
  // Aft LED
  HAL_GPIO_TogglePin(GPIOC,GPIO_PIN_12);
  /* USER CODE END ADC1_Init 2 */

}

static void MX_I2C1_Init(void)
{

  hi2c1.Instance = I2C1;
  hi2c1.Init.Timing = 0x10D19CE4;
  hi2c1.Init.OwnAddress1 = 0;
  hi2c1.Init.AddressingMode = I2C_ADDRESSINGMODE_7BIT;
  hi2c1.Init.DualAddressMode = I2C_DUALADDRESS_DISABLE;
  hi2c1.Init.OwnAddress2 = 0;
  hi2c1.Init.OwnAddress2Masks = I2C_OA2_NOMASK;
  hi2c1.Init.GeneralCallMode = I2C_GENERALCALL_DISABLE;
  hi2c1.Init.NoStretchMode = I2C_NOSTRETCH_DISABLE;
  if (HAL_I2C_Init(&hi2c1) != HAL_OK)
  {
    Error_Handler();
  }

  /** Configure Analogue filter
  */
  if (HAL_I2CEx_ConfigAnalogFilter(&hi2c1, I2C_ANALOGFILTER_ENABLE) != HAL_OK)
  {
    Error_Handler();
  }

  /** Configure Digital filter
  */
  if (HAL_I2CEx_ConfigDigitalFilter(&hi2c1, 0) != HAL_OK)
  {
    Error_Handler();
  }

}

static void MX_I2C2_Init(void)
{

  hi2c2.Instance = I2C2;
  hi2c2.Init.Timing = 0x10D19CE4;
  hi2c2.Init.OwnAddress1 = 0;
  hi2c2.Init.AddressingMode = I2C_ADDRESSINGMODE_7BIT;
  hi2c2.Init.DualAddressMode = I2C_DUALADDRESS_DISABLE;
  hi2c2.Init.OwnAddress2 = 0;
  hi2c2.Init.OwnAddress2Masks = I2C_OA2_NOMASK;
  hi2c2.Init.GeneralCallMode = I2C_GENERALCALL_DISABLE;
  hi2c2.Init.NoStretchMode = I2C_NOSTRETCH_DISABLE;
  if (HAL_I2C_Init(&hi2c2) != HAL_OK)
  {
    Error_Handler();
  }

  /** Configure Analogue filter
  */
  if (HAL_I2CEx_ConfigAnalogFilter(&hi2c2, I2C_ANALOGFILTER_ENABLE) != HAL_OK)
  {
    Error_Handler();
  }

  /** Configure Digital filter
  */
  if (HAL_I2CEx_ConfigDigitalFilter(&hi2c2, 0) != HAL_OK)
  {
    Error_Handler();
  }

}

static void MX_I2C3_Init(void)
{

  hi2c3.Instance = I2C3;
  hi2c3.Init.Timing = 0x10D19CE4;
  hi2c3.Init.OwnAddress1 = 0;
  hi2c3.Init.AddressingMode = I2C_ADDRESSINGMODE_7BIT;
  hi2c3.Init.DualAddressMode = I2C_DUALADDRESS_DISABLE;
  hi2c3.Init.OwnAddress2 = 0;
  hi2c3.Init.OwnAddress2Masks = I2C_OA2_NOMASK;
  hi2c3.Init.GeneralCallMode = I2C_GENERALCALL_DISABLE;
  hi2c3.Init.NoStretchMode = I2C_NOSTRETCH_ENABLE;
  if (HAL_I2C_Init(&hi2c3) != HAL_OK)
  {
    Error_Handler();
  }

  /** Configure Analogue filter
  */
  if (HAL_I2CEx_ConfigAnalogFilter(&hi2c3, I2C_ANALOGFILTER_ENABLE) != HAL_OK)
  {
    Error_Handler();
  }

  /** Configure Digital filter
  */
  if (HAL_I2CEx_ConfigDigitalFilter(&hi2c3, 0) != HAL_OK)
  {
    Error_Handler();
  }

}

static void MX_IWDG_Init(void)
{

  hiwdg.Instance = IWDG;
  hiwdg.Init.Prescaler = IWDG_PRESCALER_256;
  hiwdg.Init.Window = 4095;
  hiwdg.Init.Reload = 4095;
  if (HAL_IWDG_Init(&hiwdg) != HAL_OK)
  {
    Error_Handler();
  }

}

static void MX_SPI1_Init(void)
{

  /* SPI1 parameter configuration*/
  hspi1.Instance = SPI1;
  hspi1.Init.Mode = SPI_MODE_MASTER;
  hspi1.Init.Direction = SPI_DIRECTION_2LINES;
  hspi1.Init.DataSize = SPI_DATASIZE_4BIT;
  hspi1.Init.CLKPolarity = SPI_POLARITY_LOW;
  hspi1.Init.CLKPhase = SPI_PHASE_1EDGE;
  hspi1.Init.NSS = SPI_NSS_SOFT;
  hspi1.Init.BaudRatePrescaler = SPI_BAUDRATEPRESCALER_2;
  hspi1.Init.FirstBit = SPI_FIRSTBIT_MSB;
  hspi1.Init.TIMode = SPI_TIMODE_DISABLE;
  hspi1.Init.CRCCalculation = SPI_CRCCALCULATION_DISABLE;
  hspi1.Init.CRCPolynomial = 7;
  hspi1.Init.CRCLength = SPI_CRC_LENGTH_DATASIZE;
  hspi1.Init.NSSPMode = SPI_NSS_PULSE_ENABLE;
  if (HAL_SPI_Init(&hspi1) != HAL_OK)
  {
    Error_Handler();
  }

}

static void MX_TIM1_Init(void)
{

  TIM_MasterConfigTypeDef sMasterConfig = {0};
  TIM_IC_InitTypeDef sConfigIC = {0};

  htim1.Instance = TIM1;
  htim1.Init.Prescaler = 0;
  htim1.Init.CounterMode = TIM_COUNTERMODE_UP;
  htim1.Init.Period = 65535;
  htim1.Init.ClockDivision = TIM_CLOCKDIVISION_DIV1;
  htim1.Init.RepetitionCounter = 0;
  htim1.Init.AutoReloadPreload = TIM_AUTORELOAD_PRELOAD_DISABLE;
  if (HAL_TIM_IC_Init(&htim1) != HAL_OK)
  {
    Error_Handler();
  }
  sMasterConfig.MasterOutputTrigger = TIM_TRGO_RESET;
  sMasterConfig.MasterOutputTrigger2 = TIM_TRGO2_RESET;
  sMasterConfig.MasterSlaveMode = TIM_MASTERSLAVEMODE_DISABLE;
  if (HAL_TIMEx_MasterConfigSynchronization(&htim1, &sMasterConfig) != HAL_OK)
  {
    Error_Handler();
  }
  sConfigIC.ICPolarity = TIM_INPUTCHANNELPOLARITY_RISING;
  sConfigIC.ICSelection = TIM_ICSELECTION_DIRECTTI;
  sConfigIC.ICPrescaler = TIM_ICPSC_DIV1;
  sConfigIC.ICFilter = 0;
  if (HAL_TIM_IC_ConfigChannel(&htim1, &sConfigIC, TIM_CHANNEL_1) != HAL_OK)
  {
    Error_Handler();
  }

}

static void MX_TIM2_Init(void)
{

  TIM_MasterConfigTypeDef sMasterConfig = {0};
  TIM_IC_InitTypeDef sConfigIC = {0};

  htim2.Instance = TIM2;
  htim2.Init.Prescaler = 0;
  htim2.Init.CounterMode = TIM_COUNTERMODE_UP;
  htim2.Init.Period = 4294967295;
  htim2.Init.ClockDivision = TIM_CLOCKDIVISION_DIV1;
  htim2.Init.AutoReloadPreload = TIM_AUTORELOAD_PRELOAD_DISABLE;
  if (HAL_TIM_IC_Init(&htim2) != HAL_OK)
  {
    Error_Handler();
  }
  sMasterConfig.MasterOutputTrigger = TIM_TRGO_RESET;
  sMasterConfig.MasterSlaveMode = TIM_MASTERSLAVEMODE_DISABLE;
  if (HAL_TIMEx_MasterConfigSynchronization(&htim2, &sMasterConfig) != HAL_OK)
  {
    Error_Handler();
  }
  sConfigIC.ICPolarity = TIM_INPUTCHANNELPOLARITY_RISING;
  sConfigIC.ICSelection = TIM_ICSELECTION_DIRECTTI;
  sConfigIC.ICPrescaler = TIM_ICPSC_DIV1;
  sConfigIC.ICFilter = 0;
  if (HAL_TIM_IC_ConfigChannel(&htim2, &sConfigIC, TIM_CHANNEL_1) != HAL_OK)
  {
    Error_Handler();
  }

}

static void MX_TIM6_Init(void)
{

  TIM_MasterConfigTypeDef sMasterConfig = {0};

  htim6.Instance = TIM6;
  htim6.Init.Prescaler = 159;
  htim6.Init.CounterMode = TIM_COUNTERMODE_UP;
  htim6.Init.Period = 49999;
  htim6.Init.AutoReloadPreload = TIM_AUTORELOAD_PRELOAD_ENABLE;
  if (HAL_TIM_Base_Init(&htim6) != HAL_OK)
  {
    Error_Handler();
  }
  sMasterConfig.MasterOutputTrigger = TIM_TRGO_UPDATE;
  sMasterConfig.MasterSlaveMode = TIM_MASTERSLAVEMODE_DISABLE;
  if (HAL_TIMEx_MasterConfigSynchronization(&htim6, &sMasterConfig) != HAL_OK)
  {
    Error_Handler();
  }

}

static void MX_TIM16_Init(void)
{

  TIM_IC_InitTypeDef sConfigIC = {0};

  htim16.Instance = TIM16;
  htim16.Init.Prescaler = 0;
  htim16.Init.CounterMode = TIM_COUNTERMODE_UP;
  htim16.Init.Period = 65535;
  htim16.Init.ClockDivision = TIM_CLOCKDIVISION_DIV1;
  htim16.Init.RepetitionCounter = 0;
  htim16.Init.AutoReloadPreload = TIM_AUTORELOAD_PRELOAD_DISABLE;
  if (HAL_TIM_Base_Init(&htim16) != HAL_OK)
  {
    Error_Handler();
  }
  if (HAL_TIM_IC_Init(&htim16) != HAL_OK)
  {
    Error_Handler();
  }
  sConfigIC.ICPolarity = TIM_INPUTCHANNELPOLARITY_RISING;
  sConfigIC.ICSelection = TIM_ICSELECTION_DIRECTTI;
  sConfigIC.ICPrescaler = TIM_ICPSC_DIV1;
  sConfigIC.ICFilter = 0;
  if (HAL_TIM_IC_ConfigChannel(&htim16, &sConfigIC, TIM_CHANNEL_1) != HAL_OK)
  {
    Error_Handler();
  }

}

static void MX_USART1_UART_Init(void)
{

  huart1.Instance = USART1;
  huart1.Init.BaudRate = 115200;
  huart1.Init.WordLength = UART_WORDLENGTH_8B;
  huart1.Init.StopBits = UART_STOPBITS_1;
  huart1.Init.Parity = UART_PARITY_NONE;
  huart1.Init.Mode = UART_MODE_TX_RX;
  huart1.Init.HwFlowCtl = UART_HWCONTROL_NONE;
  huart1.Init.OverSampling = UART_OVERSAMPLING_16;
  huart1.Init.OneBitSampling = UART_ONE_BIT_SAMPLE_DISABLE;
  huart1.AdvancedInit.AdvFeatureInit = UART_ADVFEATURE_NO_INIT;
  if (HAL_UART_Init(&huart1) != HAL_OK)
  {
    Error_Handler();
  }

}

static void MX_USART2_UART_Init(void)
{

  huart2.Instance = USART2;
  huart2.Init.BaudRate = 115200;
  huart2.Init.WordLength = UART_WORDLENGTH_8B;
  huart2.Init.StopBits = UART_STOPBITS_1;
  huart2.Init.Parity = UART_PARITY_NONE;
  huart2.Init.Mode = UART_MODE_TX_RX;
  huart2.Init.HwFlowCtl = UART_HWCONTROL_NONE;
  huart2.Init.OverSampling = UART_OVERSAMPLING_16;
  huart2.Init.OneBitSampling = UART_ONE_BIT_SAMPLE_DISABLE;
  huart2.AdvancedInit.AdvFeatureInit = UART_ADVFEATURE_NO_INIT;
  if (HAL_UART_Init(&huart2) != HAL_OK)
  {
    Error_Handler();
  }

}

static void MX_DMA_Init(void)
{

  /* DMA controller clock enable */
  __HAL_RCC_DMA1_CLK_ENABLE();

  /* DMA interrupt init */
  /* DMA1_Channel1_IRQn interrupt configuration */
  HAL_NVIC_SetPriority(DMA1_Channel1_IRQn, 0, 0);
  HAL_NVIC_EnableIRQ(DMA1_Channel1_IRQn);
  /* DMA1_Channel6_IRQn interrupt configuration */
  HAL_NVIC_SetPriority(DMA1_Channel6_IRQn, 0, 0);
  HAL_NVIC_EnableIRQ(DMA1_Channel6_IRQn);

}

static void MX_GPIO_Init(void)
{
  GPIO_InitTypeDef GPIO_InitStruct = {0};

  /* GPIO Ports Clock Enable */
  __HAL_RCC_GPIOC_CLK_ENABLE();
  __HAL_RCC_GPIOH_CLK_ENABLE();
  __HAL_RCC_GPIOA_CLK_ENABLE();
  __HAL_RCC_GPIOB_CLK_ENABLE();
  __HAL_RCC_GPIOD_CLK_ENABLE();

  /*Configure GPIO pin Output Level */
  HAL_GPIO_WritePin(PDIS_PH_EN_GPIO_Port, PDIS_PH_EN_Pin, GPIO_PIN_RESET);

  /*Configure GPIO pin Output Level */
  HAL_GPIO_WritePin(GPIOB, PDIS_DO_EN_Pin|PDIS_EC_EN_Pin, GPIO_PIN_RESET);

  /*Configure GPIO pin Output Level */
  HAL_GPIO_WritePin(GPIOC, LED1_Pin|LED2_Pin|LED3_Pin, GPIO_PIN_RESET);

  /*Configure GPIO pin : PDIS_PH_EN_Pin */
  GPIO_InitStruct.Pin = PDIS_PH_EN_Pin;
  GPIO_InitStruct.Mode = GPIO_MODE_OUTPUT_PP;
  GPIO_InitStruct.Pull = GPIO_PULLDOWN;
  GPIO_InitStruct.Speed = GPIO_SPEED_FREQ_LOW;
  HAL_GPIO_Init(PDIS_PH_EN_GPIO_Port, &GPIO_InitStruct);

  /*Configure GPIO pin : OC2_Pin */
  GPIO_InitStruct.Pin = OC2_Pin;
  GPIO_InitStruct.Mode = GPIO_MODE_IT_RISING;
  GPIO_InitStruct.Pull = GPIO_PULLDOWN;
  HAL_GPIO_Init(OC2_GPIO_Port, &GPIO_InitStruct);

  /*Configure GPIO pins : SC1_Pin OC1_Pin WC_EN_Pin */
  GPIO_InitStruct.Pin = SC1_Pin|OC1_Pin|WC_EN_Pin;
  GPIO_InitStruct.Mode = GPIO_MODE_IT_RISING;
  GPIO_InitStruct.Pull = GPIO_PULLDOWN;
  HAL_GPIO_Init(GPIOB, &GPIO_InitStruct);

  /*Configure GPIO pins : PDIS_DO_EN_Pin PDIS_EC_EN_Pin */
  GPIO_InitStruct.Pin = PDIS_DO_EN_Pin|PDIS_EC_EN_Pin;
  GPIO_InitStruct.Mode = GPIO_MODE_OUTPUT_PP;
  GPIO_InitStruct.Pull = GPIO_PULLDOWN;
  GPIO_InitStruct.Speed = GPIO_SPEED_FREQ_LOW;
  HAL_GPIO_Init(GPIOB, &GPIO_InitStruct);

  /*Configure GPIO pin : RS232_INV_Pin */
  GPIO_InitStruct.Pin = RS232_INV_Pin;
  GPIO_InitStruct.Mode = GPIO_MODE_INPUT;
  GPIO_InitStruct.Pull = GPIO_PULLDOWN;
  HAL_GPIO_Init(RS232_INV_GPIO_Port, &GPIO_InitStruct);

  /*Configure GPIO pins : LED1_Pin LED2_Pin LED3_Pin */
  GPIO_InitStruct.Pin = LED1_Pin|LED2_Pin|LED3_Pin;
  GPIO_InitStruct.Mode = GPIO_MODE_OUTPUT_PP;
  GPIO_InitStruct.Pull = GPIO_NOPULL;
  GPIO_InitStruct.Speed = GPIO_SPEED_FREQ_LOW;
  HAL_GPIO_Init(GPIOC, &GPIO_InitStruct);

  /*Configure GPIO pin : SC2_Pin */
  GPIO_InitStruct.Pin = SC2_Pin;
  GPIO_InitStruct.Mode = GPIO_MODE_INPUT;
  GPIO_InitStruct.Pull = GPIO_NOPULL;
  HAL_GPIO_Init(SC2_GPIO_Port, &GPIO_InitStruct);

  /*Configure GPIO pin : PPS_Pin */
  GPIO_InitStruct.Pin = PPS_Pin;
  GPIO_InitStruct.Mode = GPIO_MODE_IT_RISING;
  GPIO_InitStruct.Pull = GPIO_NOPULL;
  HAL_GPIO_Init(PPS_GPIO_Port, &GPIO_InitStruct);

  /* EXTI interrupt init*/
  HAL_NVIC_SetPriority(EXTI9_5_IRQn, 0, 0);
  HAL_NVIC_EnableIRQ(EXTI9_5_IRQn);

}

/* USER CODE BEGIN 4 */
int _write(int file, char *data, int len) {
#if SWO_ENABLED
    for (int i = 0; i < len; i++)
    {
        ITM_SendChar(data[i]); // Send each character over SWO
    }
    return len;
#else
    HAL_StatusTypeDef status = HAL_UART_Transmit(&huart2, (uint8_t *)data, len, HAL_MAX_DELAY);
    return (status == HAL_OK) ? len : -1;
#endif
}

void HAL_UARTEx_RxEventCallback(UART_HandleTypeDef *huart, uint16_t Size)
{
  if (huart->Instance == USART2)
  {
    if (Size > 0 && Size < sizeof(uartrxbuff))
    {
      uartrxbuff[Size] = '\0';

      if (uQueue.msgCount < UART_QUEUE_SIZE)
      {
        uQueue.msgCount++;
        if (uQueue.wIndex >= UART_QUEUE_SIZE)
          uQueue.wIndex = 0;
        strcpy((char *)uQueue.msgQueue[uQueue.wIndex], (char *)uartrxbuff);
        uQueue.wIndex++;
      }
      else
      {
        printf("UART Queue full!\r\n");
      }
    }

    // Restart UART2 receiver
    HAL_UARTEx_ReceiveToIdle_DMA(&huart2, (uint8_t *)uartrxbuff, sizeof(uartrxbuff));
  }
  else if (huart->Instance == USART1)
  {
    uart1_last_rx_tick = HAL_GetTick();  // Update our UART1 ticker
    AML_UART_RxCallback(uart1rxbuff, Size);

    // Restart UART1 receiver
    HAL_UARTEx_ReceiveToIdle_IT(&huart1, (uint8_t *)uart1rxbuff, sizeof(uart1rxbuff));
  }
}

void HAL_ADC_ConvCpltCallback(ADC_HandleTypeDef *hadc)
{
    if (hadc->Instance == ADC1)
    {
        adc_value1 = adc_buffer[0];
        adc_value2 = adc_buffer[1];
        adc_value3 = adc_buffer[2];
        adc_value4 = adc_buffer[3];
        adc_value5 = adc_buffer[4];

        adc_voltage1 = adc_buffer[0] * 3.3f / 4096.0f;
        adc_voltage2 = adc_buffer[1] * 3.3f / 4096.0f;
        adc_voltage3 = adc_buffer[2] * 3.3f / 4096.0f;
        adc_voltage4 = adc_buffer[3] * 3.3f / 4096.0f;
        adc_voltage5 = adc_buffer[4] * 3.3f / 4096.0f;

        HAL_GPIO_WritePin(GPIOC,GPIO_PIN_11,0);

        adc_counter++;
    }
}

void jumpToBootloader(void)
{

  HAL_FLASH_Unlock();

  // Flash Erase Configuration
  FLASH_EraseInitTypeDef eraseInitStruct = {0};
  uint32_t pageError = 0;

  eraseInitStruct.TypeErase = FLASH_TYPEERASE_PAGES; // Page erase
  eraseInitStruct.Banks = FLASH_BANK_1;              // Specify Bank 1
  eraseInitStruct.Page = 0;                          // Page number to erase (0 = first page)
  eraseInitStruct.NbPages = 1;                       // Number of pages to erase

  // Perform the erase operation
  if (HAL_FLASHEx_Erase(&eraseInitStruct, &pageError) != HAL_OK)
  {
    // Handle error
    uint32_t errorCode = HAL_FLASH_GetError();
    while (1)
      ;
  }

  uint32_t address = 0x08000000;
  uint64_t data_to_write = 0xFFFFFFFFFFFFFFFF;

  // Program the flash (64-bit aligned)
  if (HAL_FLASH_Program(FLASH_TYPEPROGRAM_DOUBLEWORD, address, data_to_write) != HAL_OK)
  {
    uint32_t errorCode = HAL_FLASH_GetError();
    while (1)
      ;
  }

  HAL_FLASH_Lock(); // Lock the flash to prevent accidental writes

  /* Disable all interrupts */
  __disable_irq();

  /* Disable Systick timer */
  SysTick->CTRL = 0;

  /* Set the clock to the default state */
  HAL_RCC_DeInit();

  /* Clear Interrupt Enable Register & Interrupt Pending Register */
  for (uint8_t i = 0; i < (MCU_IRQS + 31u) / 32; i++)
  {
    NVIC->ICER[i] = 0xFFFFFFFF;
    NVIC->ICPR[i] = 0xFFFFFFFF;
  }

  /* Re-enable all interrupts */
  __enable_irq();

  // Set the MSP
  __set_MSP(BOOTVTAB->Initial_SP);

  // Jump to app firmware
  BOOTVTAB->Reset_Handler();
}

/* USER CODE END 4 */

void Error_Handler(void)
{
  __disable_irq();
  while (1)
  {
  }
}
